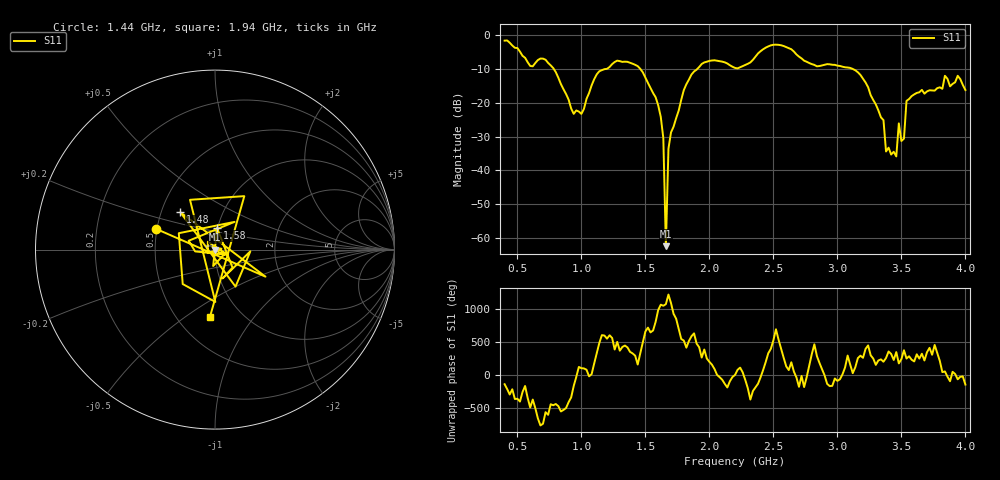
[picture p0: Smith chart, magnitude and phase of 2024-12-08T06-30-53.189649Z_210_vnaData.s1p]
!Created with skrf (http://scikit-rf.org).
# Hz S RI R 50.0
!freq ReS11 ImS11
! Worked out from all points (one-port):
!   181 points, 400 MHz to 4 GHz, reference 50 ohm
!   lowest |S11| = -62.4 dB at 1.66 GHz (marker M1), VSWR 1.00, Z = 50.1 - j0.0116 ohm
!   |S11| at or under -10 dB: 785.1 MHz to 1.182 GHz (397 MHz wide, 40.4 % of centre); 1.461 GHz to 1.904 GHz (442.6 MHz wide, 26.3 % of centre); 3.123 GHz to end of sweep
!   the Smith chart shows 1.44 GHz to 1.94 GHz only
!   S11 on the Smith chart (normalised r, x): 1.44 GHz: 0.49, +0.13; 1.48 GHz: 0.63, +0.28; 1.58 GHz: 0.99, +0.24; 1.94 GHz: 0.72, -0.63
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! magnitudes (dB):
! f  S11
! 400 MHz  -1.6
! 600 MHz  -9.1
! 720 MHz  -7.2
! 860 MHz  -16.0
! 1 GHz  -23.3
! 1.12 GHz  -11.5
! 1.3 GHz  -7.6
! 1.44 GHz  -9.1
! 1.48 GHz  -11.0
! 1.58 GHz  -18.3
! 1.64 GHz  -30.4
! 1.66 GHz  -62.4
! 1.68 GHz  -33.6
! 1.76 GHz  -22.3
! 1.94 GHz  -8.5
! 2.2 GHz  -9.6
! 2.48 GHz  -3.0
! 2.66 GHz  -4.8
! 3.1 GHz  -9.6
! 3.24 GHz  -15.3
! 3.42 GHz  -35.3
! 3.46 GHz  -35.9
! 3.48 GHz  -26.1
! 3.52 GHz  -30.6
! 3.54 GHz  -19.4
! 3.56 GHz  -18.8
! 3.84 GHz  -12.0
! 4 GHz  -16.2
